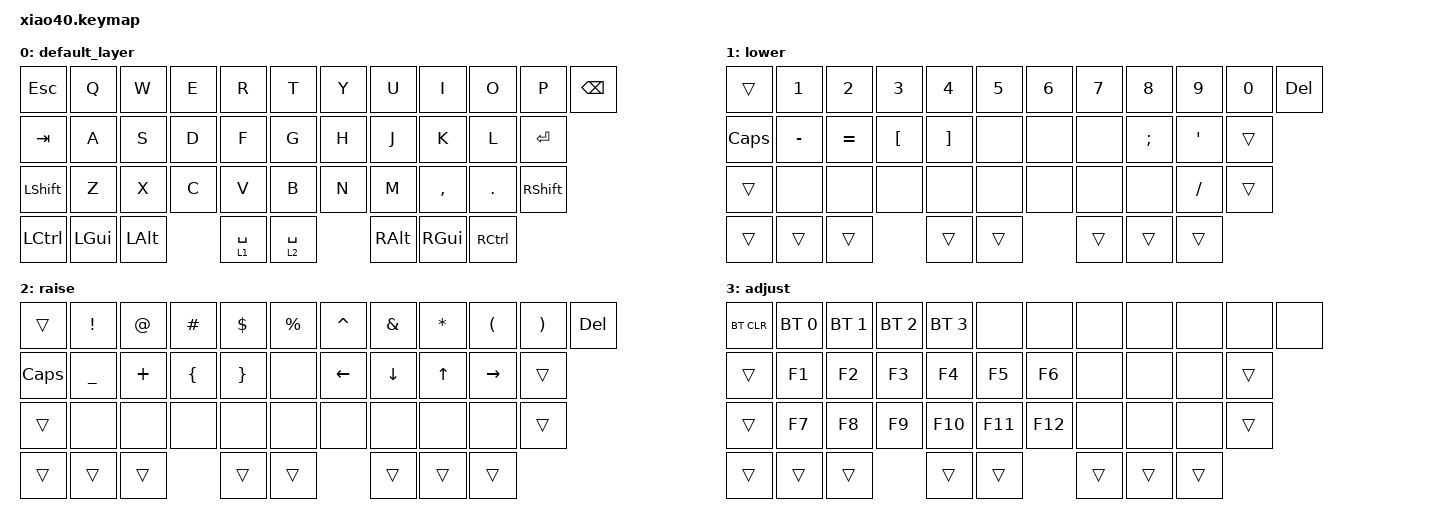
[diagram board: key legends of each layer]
/*
 * Copyright (c) 2022 Ramon Imbao
 *
 * SPDX-License-Identifier: MIT
 */

#include <behaviors.dtsi>
#include <dt-bindings/zmk/keys.h>
#include <dt-bindings/zmk/bt.h>

// Using layer taps on thumbs, having quick tap as well helps w/ repeating space/backspace
&lt { quick_tap_ms = <200>; };

/ {
    conditional_layers {
        compatible = "zmk,conditional-layers";
        tri_layer {
            if-layers = <1 2>;
            then-layer = <3>;
        };
    };

    keymap {
        compatible = "zmk,keymap";

        default_layer {
            bindings = <
                &kp ESC     &kp Q       &kp W       &kp E       &kp R       &kp T        &kp Y       &kp U       &kp I       &kp O       &kp P       &kp BSPC
                &kp TAB     &kp A       &kp S       &kp D       &kp F       &kp G        &kp H       &kp J       &kp K       &kp L       &kp ENTER
                &kp LSHFT   &kp Z       &kp X       &kp C       &kp V       &kp B        &kp N       &kp M       &kp COMMA   &kp DOT     &kp RSHFT
                &kp LCTRL   &kp LGUI    &kp LALT                &lt 1 SPACE &lt 2 SPACE              &kp RALT    &kp RGUI    &kp RCTRL
            >;
        };

        lower {
            bindings = <
                &trans      &kp N1      &kp N2      &kp N3      &kp N4      &kp N5       &kp N6      &kp N7      &kp N8      &kp N9      &kp N0      &kp DEL
                &kp CAPS    &kp MINUS   &kp EQUAL   &kp LBKT    &kp RBKT    &none        &none       &none       &kp SEMI    &kp APOS    &trans
                &trans      &none       &none       &none       &none       &none        &none       &none       &none      &kp SLASH   &trans
                &trans      &trans      &trans                  &trans      &trans                   &trans      &trans      &trans
            >;
        };

        raise {
            bindings = <
                &trans      &kp EXCL    &kp AT      &kp HASH    &kp DLLR    &kp PRCNT    &kp CARET   &kp AMPS    &kp STAR    &kp LPAR    &kp RPAR    &kp DEL
                &kp CAPS    &kp UNDER   &kp PLUS    &kp LBRC    &kp RBRC    &none        &kp LEFT    &kp DOWN    &kp UP      &kp RIGHT   &trans
                &trans      &none       &none       &none       &none       &none        &none       &none       &none       &none       &trans
                &trans      &trans      &trans                  &trans      &trans                   &trans      &trans      &trans
            >;
        };

        adjust {
            bindings = <
                &bt BT_CLR  &bt BT_SEL 0 &bt BT_SEL 1 &bt BT_SEL 2 &bt BT_SEL 3 &none    &none       &none       &none       &none       &none       &none
                &trans      &kp F1      &kp F2      &kp F3      &kp F4      &kp F5       &kp F6      &none       &none       &none       &trans
                &trans      &kp F7      &kp F8      &kp F9      &kp F10     &kp F11      &kp F12     &none       &none       &none       &trans
                &trans      &trans      &trans                  &trans      &trans                   &trans      &trans      &trans
            >;
        };
    };
};
